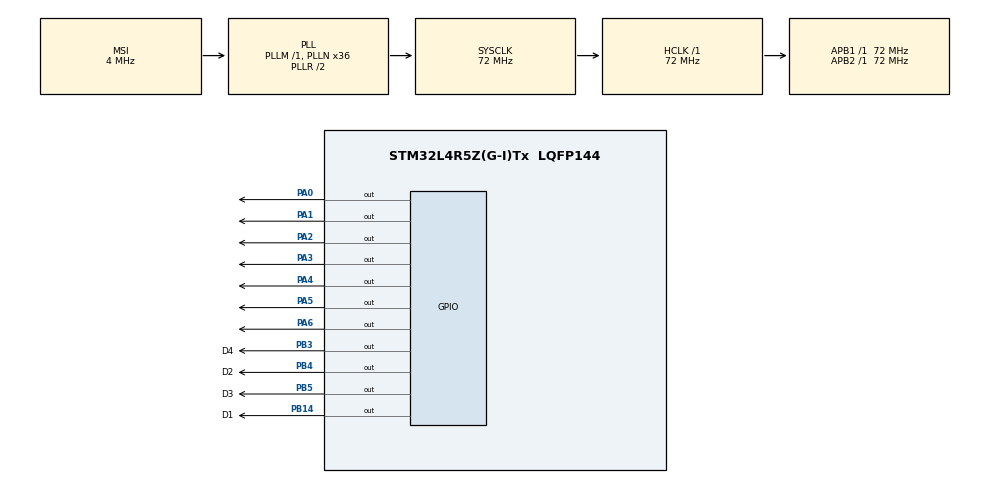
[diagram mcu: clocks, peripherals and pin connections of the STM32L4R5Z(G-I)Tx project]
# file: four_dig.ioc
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Mcu.Family=STM32L4
Mcu.Name=STM32L4R5Z(G-I)Tx
Mcu.Package=LQFP144
NVIC.PriorityGroup=NVIC_PRIORITYGROUP_4
PA0.Signal=GPIO_Output
PA1.Signal=GPIO_Output
PA2.Signal=GPIO_Output
PA3.Signal=GPIO_Output
PA4.Signal=GPIO_Output
PA5.Signal=GPIO_Output
PA6.Signal=GPIO_Output
PB14.GPIO_Label=D1
PB14.Signal=GPIO_Output
PB3\ (JTDO/TRACESWO).GPIO_Label=D4
PB3\ (JTDO/TRACESWO).Signal=GPIO_Output
PB4\ (NJTRST).GPIO_Label=D2
PB4\ (NJTRST).Signal=GPIO_Output
PB5.GPIO_Label=D3
PB5.Signal=GPIO_Output
PH0-OSC_IN\ (PH0).Mode=HSE-External-Oscillator
PH0-OSC_IN\ (PH0).Signal=RCC_OSC_IN
PH1-OSC_OUT\ (PH1).Mode=HSE-External-Oscillator
PH1-OSC_OUT\ (PH1).Signal=RCC_OSC_OUT
ProjectManager.HeapSize=0x200
ProjectManager.StackSize=0x400
ProjectManager.TargetToolchain=STM32CubeIDE
RCC.AHBFreq_Value=72000000
RCC.APB1Freq_Value=72000000
RCC.APB1TimFreq_Value=72000000
RCC.APB2Freq_Value=72000000
RCC.APB2TimFreq_Value=72000000
RCC.CortexFreq_Value=72000000
RCC.HCLKFreq_Value=72000000
RCC.HSE_VALUE=8000000
RCC.HSI48_VALUE=48000000
RCC.HSI_VALUE=16000000
RCC.LSE_VALUE=32768
RCC.MSI_VALUE=4000000
RCC.PLLN=36
RCC.SYSCLKFreq_VALUE=72000000
RCC.SYSCLKSource=RCC_SYSCLKSOURCE_PLLCLK
RCC.VCOOutputFreq_Value=144000000
board=custom

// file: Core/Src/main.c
/* USER CODE BEGIN Header */
/**
  ******************************************************************************
  * @file           : main.c
  * @brief          : Main program body
  ******************************************************************************
  * @attention
  *
  * Copyright (c) 2024 STMicroelectronics.
  * All rights reserved.
  *
  * This software is licensed under terms that can be found in the LICENSE file
  * in the root directory of this software component.
  * If no LICENSE file comes with this software, it is provided AS-IS.
  *
  ******************************************************************************
  */
/* USER CODE END Header */
#include "main.h"

/* USER CODE BEGIN PD */

uint32_t counter = 0;
uint8_t temp1, temp2, temp3, temp4;

#define D1_HIGH HAL_GPIO_WritePin(GPIOB, GPIO_PIN_14, GPIO_PIN_SET);
#define D1_LOW HAL_GPIO_WritePin(GPIOB, GPIO_PIN_14, GPIO_PIN_RESET);

#define D2_HIGH HAL_GPIO_WritePin(GPIOB, GPIO_PIN_4, GPIO_PIN_SET);
#define D2_LOW HAL_GPIO_WritePin(GPIOB, GPIO_PIN_4, GPIO_PIN_RESET);

#define D3_HIGH HAL_GPIO_WritePin(GPIOB, GPIO_PIN_5, GPIO_PIN_SET);
#define D3_LOW HAL_GPIO_WritePin(GPIOB, GPIO_PIN_5, GPIO_PIN_RESET);

#define D4_HIGH HAL_GPIO_WritePin(GPIOB, GPIO_PIN_3, GPIO_PIN_SET);
#define D4_LOW HAL_GPIO_WritePin(GPIOB, GPIO_PIN_3, GPIO_PIN_RESET);

uint8_t segmentNumber[10]={
		0x3f,
		0x06,
		0x5b,
		0x4f,
		0x66,
		0x6d,
		0x7d,
		0x07,
		0x7f,
		0x67
};

void SevenSegment_Update(uint8_t number){
	HAL_GPIO_WritePin(GPIOA, GPIO_PIN_0, ((number>>0)&0x01));
	HAL_GPIO_WritePin(GPIOA, GPIO_PIN_1, ((number>>1)&0x01));
	HAL_GPIO_WritePin(GPIOA, GPIO_PIN_2, ((number>>2)&0x01));
	HAL_GPIO_WritePin(GPIOA, GPIO_PIN_3, ((number>>3)&0x01));
	HAL_GPIO_WritePin(GPIOA, GPIO_PIN_4, ((number>>4)&0x01));
	HAL_GPIO_WritePin(GPIOA, GPIO_PIN_5, ((number>>5)&0x01));
	HAL_GPIO_WritePin(GPIOA, GPIO_PIN_6, ((number>>6)&0x01));
}

/* USER CODE END PD */

void SystemClock_Config(void);
static void MX_GPIO_Init(void);

int main(void)
{

  /* MCU Configuration--------------------------------------------------------*/

  /* Reset of all peripherals, Initializes the Flash interface and the Systick. */
  HAL_Init();

  /* Configure the system clock */
  SystemClock_Config();

  /* Initialize all configured peripherals */
  MX_GPIO_Init();
  /* USER CODE BEGIN 2 */
  	HAL_GPIO_WritePin(GPIOA, GPIO_PIN_0, GPIO_PIN_RESET);
    HAL_GPIO_WritePin(GPIOA, GPIO_PIN_1, GPIO_PIN_RESET);
    HAL_GPIO_WritePin(GPIOA, GPIO_PIN_2, GPIO_PIN_RESET);
    HAL_GPIO_WritePin(GPIOA, GPIO_PIN_3, GPIO_PIN_RESET);
    HAL_GPIO_WritePin(GPIOA, GPIO_PIN_4, GPIO_PIN_RESET);
    HAL_GPIO_WritePin(GPIOA, GPIO_PIN_5, GPIO_PIN_RESET);
    HAL_GPIO_WritePin(GPIOA, GPIO_PIN_6, GPIO_PIN_RESET);

    HAL_GPIO_WritePin(GPIOB, D1_Pin|D4_Pin|D2_Pin|D3_Pin, GPIO_PIN_SET);
  /* USER CODE END 2 */

  /* Infinite loop */
  /* USER CODE BEGIN WHILE */
  while (1)
  {

	  	  temp1 = counter/1000;
	  	  temp2 = ((counter/100)%10);
	  	  temp3 = ((counter/10)%10);
	  	  temp4 = (counter%10);

	  	  SevenSegment_Update(segmentNumber[temp1]);
	  	  D1_LOW;
	  	  HAL_Delay(7);
	  	  D1_HIGH;
	  	  SevenSegment_Update(segmentNumber[temp2]);
	  	  D2_LOW;
	  	  HAL_Delay(7);
	  	  D2_HIGH;

	  	  SevenSegment_Update(segmentNumber[temp3]);
	  	  D3_LOW;
	  	  HAL_Delay(7);
	  	  D3_HIGH;

	  	  SevenSegment_Update(segmentNumber[temp4]);
	  	  D4_LOW;
	  	  HAL_Delay(7);
	  	  D4_HIGH;

	  	  counter++;
	  	  if (counter >= 1000){
	  		  counter = 0;
	  	  }
//	  	 HAL_Delay(1000);
    /* USER CODE END WHILE */

  }
}

void SystemClock_Config(void)
{
  RCC_OscInitTypeDef RCC_OscInitStruct = {0};
  RCC_ClkInitTypeDef RCC_ClkInitStruct = {0};

  /** Configure the main internal regulator output voltage
  */
  if (HAL_PWREx_ControlVoltageScaling(PWR_REGULATOR_VOLTAGE_SCALE1) != HAL_OK)
  {
    Error_Handler();
  }

  /** Initializes the RCC Oscillators according to the specified parameters
  * in the RCC_OscInitTypeDef structure.
  */
  RCC_OscInitStruct.OscillatorType = RCC_OSCILLATORTYPE_MSI;
  RCC_OscInitStruct.MSIState = RCC_MSI_ON;
  RCC_OscInitStruct.MSICalibrationValue = 0;
  RCC_OscInitStruct.MSIClockRange = RCC_MSIRANGE_6;
  RCC_OscInitStruct.PLL.PLLState = RCC_PLL_ON;
  RCC_OscInitStruct.PLL.PLLSource = RCC_PLLSOURCE_MSI;
  RCC_OscInitStruct.PLL.PLLM = 1;
  RCC_OscInitStruct.PLL.PLLN = 36;
  RCC_OscInitStruct.PLL.PLLP = RCC_PLLP_DIV2;
  RCC_OscInitStruct.PLL.PLLQ = RCC_PLLQ_DIV2;
  RCC_OscInitStruct.PLL.PLLR = RCC_PLLR_DIV2;
  if (HAL_RCC_OscConfig(&RCC_OscInitStruct) != HAL_OK)
  {
    Error_Handler();
  }

  /** Initializes the CPU, AHB and APB buses clocks
  */
  RCC_ClkInitStruct.ClockType = RCC_CLOCKTYPE_HCLK|RCC_CLOCKTYPE_SYSCLK
                              |RCC_CLOCKTYPE_PCLK1|RCC_CLOCKTYPE_PCLK2;
  RCC_ClkInitStruct.SYSCLKSource = RCC_SYSCLKSOURCE_PLLCLK;
  RCC_ClkInitStruct.AHBCLKDivider = RCC_SYSCLK_DIV1;
  RCC_ClkInitStruct.APB1CLKDivider = RCC_HCLK_DIV1;
  RCC_ClkInitStruct.APB2CLKDivider = RCC_HCLK_DIV1;

  if (HAL_RCC_ClockConfig(&RCC_ClkInitStruct, FLASH_LATENCY_3) != HAL_OK)
  {
    Error_Handler();
  }
}

static void MX_GPIO_Init(void)
{
  GPIO_InitTypeDef GPIO_InitStruct = {0};

  /* GPIO Ports Clock Enable */
  __HAL_RCC_GPIOH_CLK_ENABLE();
  __HAL_RCC_GPIOA_CLK_ENABLE();
  __HAL_RCC_GPIOB_CLK_ENABLE();

  /*Configure GPIO pin Output Level */
  HAL_GPIO_WritePin(GPIOA, GPIO_PIN_0|GPIO_PIN_1|GPIO_PIN_2|GPIO_PIN_3
                          |GPIO_PIN_4|GPIO_PIN_5|GPIO_PIN_6, GPIO_PIN_RESET);

  /*Configure GPIO pin Output Level */
  HAL_GPIO_WritePin(GPIOB, D1_Pin|D4_Pin|D2_Pin|D3_Pin, GPIO_PIN_RESET);

  /*Configure GPIO pins : PA0 PA1 PA2 PA3
                           PA4 PA5 PA6 */
  GPIO_InitStruct.Pin = GPIO_PIN_0|GPIO_PIN_1|GPIO_PIN_2|GPIO_PIN_3
                          |GPIO_PIN_4|GPIO_PIN_5|GPIO_PIN_6;
  GPIO_InitStruct.Mode = GPIO_MODE_OUTPUT_PP;
  GPIO_InitStruct.Pull = GPIO_NOPULL;
  GPIO_InitStruct.Speed = GPIO_SPEED_FREQ_LOW;
  HAL_GPIO_Init(GPIOA, &GPIO_InitStruct);

  /*Configure GPIO pins : D1_Pin D4_Pin D2_Pin D3_Pin */
  GPIO_InitStruct.Pin = D1_Pin|D4_Pin|D2_Pin|D3_Pin;
  GPIO_InitStruct.Mode = GPIO_MODE_OUTPUT_PP;
  GPIO_InitStruct.Pull = GPIO_NOPULL;
  GPIO_InitStruct.Speed = GPIO_SPEED_FREQ_LOW;
  HAL_GPIO_Init(GPIOB, &GPIO_InitStruct);

}

void Error_Handler(void)
{
  __disable_irq();
  while (1)
  {
  }
}
